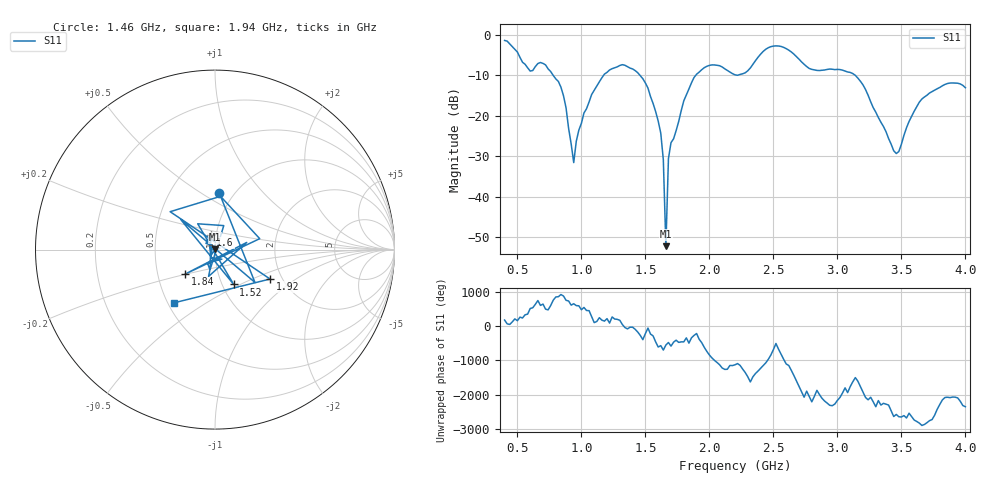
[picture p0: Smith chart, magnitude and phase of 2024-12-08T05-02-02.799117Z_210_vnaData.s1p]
!Created with skrf (http://scikit-rf.org).
# Hz S RI R 50.0
!freq ReS11 ImS11
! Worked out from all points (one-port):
!   181 points, 400 MHz to 4 GHz, reference 50 ohm
!   lowest |S11| = -52.3 dB at 1.66 GHz (marker M1), VSWR 1.00, Z = 49.8 + j0.0681 ohm
!   |S11| at or under -10 dB: 779.9 MHz to 1.173 GHz (392.7 MHz wide, 40.2 % of centre); 1.458 GHz to 1.893 GHz (434.3 MHz wide, 25.9 % of centre); 3.141 GHz to end of sweep
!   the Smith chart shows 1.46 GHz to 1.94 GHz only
!   S11 on the Smith chart (normalised r, x): 1.46 GHz: 0.86, +0.60; 1.52 GHz: 1.13, -0.46; 1.6 GHz: 0.94, +0.16; 1.84 GHz: 0.69, -0.20; 1.92 GHz: 1.73, -0.65; 1.94 GHz: 0.54, -0.37
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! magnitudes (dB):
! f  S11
! 400 MHz  -1.3
! 600 MHz  -8.9
! 720 MHz  -7.4
! 860 MHz  -15.0
! 940 MHz  -31.6
! 980 MHz  -23.5
! 1.08 GHz  -14.7
! 1.3 GHz  -7.5
! 1.46 GHz  -10.1
! 1.52 GHz  -13.1
! 1.6 GHz  -21.3
! 1.64 GHz  -30.8
! 1.66 GHz  -52.3
! 1.68 GHz  -30.6
! 1.76 GHz  -21.4
! 1.84 GHz  -13.3
! 1.92 GHz  -9.2
! 1.94 GHz  -8.6
! 2.2 GHz  -9.8
! 2.48 GHz  -2.9
! 2.66 GHz  -4.7
! 2.8 GHz  -8.5
! 3.1 GHz  -9.3
! 3.2 GHz  -12.3
! 3.46 GHz  -29.3
! 3.56 GHz  -21.4
! 3.72 GHz  -14.3
! 4 GHz  -13.0
